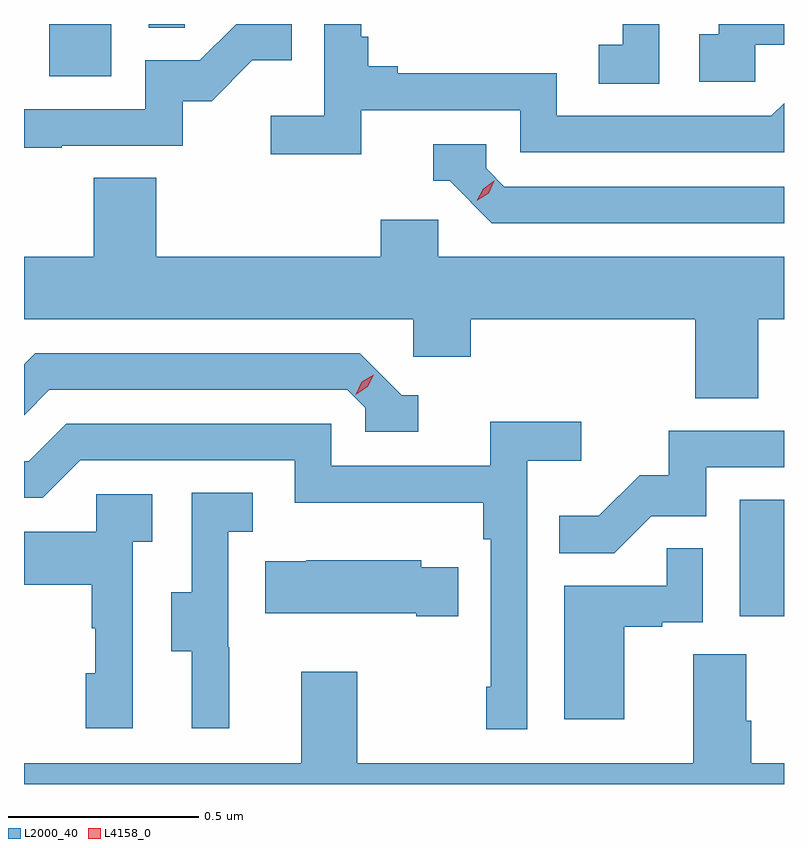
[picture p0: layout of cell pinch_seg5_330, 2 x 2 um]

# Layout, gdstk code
import gdstk
lib = gdstk.Library(unit=1e-6, precision=1e-09)
def R(c, l, rs):  # rectangles x0, y0, x1, y1
    for r in rs: c.add(gdstk.rectangle(r[:2], r[2:], *l))
def P(c, l, *ps):  # polygons
    for p in ps: c.add(gdstk.Polygon(p, *l))
L2000_40 = (2000, 40)
L4158_0 = (4158, 0)

pinch_seg5_330 = lib.new_cell('pinch_seg5_330')
R(pinch_seg5_330, L2000_40, [(926.156,883.95,926.272,884.257), (924.338,885.372,924.502,885.509), (924.6,885.499,924.695,885.509)])
P(pinch_seg5_330, L2000_40, [(925.944,885.509),(925.848,885.509),(925.848,885.455),(925.785,885.455),(925.785,885.352),(925.944,885.352)],
  [(924.371,885.189),(924.69,885.189),(924.69,885.306),(924.766,885.306),(924.873,885.413),(924.977,885.413),(924.977,885.509),(924.83,885.509),(924.735,885.414),(924.591,885.414),(924.591,885.285),(924.272,885.285),(924.272,885.184),(924.371,885.184)],
  [(926.196,885.455),(926.272,885.455),(926.272,885.509),(926.1,885.509),(926.1,885.482),(926.049,885.482),(926.049,885.357),(926.196,885.357)],
  [(925.16,885.282),(925.578,885.282),(925.578,885.171),(926.272,885.171),(926.272,885.301),(926.238,885.267),(925.674,885.267),(925.674,885.379),(925.255,885.379),(925.255,885.398),(925.178,885.398),(925.178,885.475),(925.159,885.475),(925.159,885.509),(925.062,885.509),(925.062,885.268),(924.921,885.268),(924.921,885.166),(925.16,885.166)],
  [(926.272,885.081),(925.536,885.081),(925.488,885.129),(925.488,885.192),(925.349,885.192),(925.349,885.096),(925.392,885.096),(925.503,884.985),(926.272,884.985)],
  [(926.204,884.732),(926.272,884.732),(926.272,884.896),(925.362,884.896),(925.362,884.994),(925.211,884.994),(925.211,884.896),(924.62,884.896),(924.62,885.104),(924.455,885.104),(924.455,884.896),(924.272,884.896),(924.272,884.732),(925.296,884.732),(925.296,884.634),(925.448,884.634),(925.448,884.732),(926.039,884.732),(926.039,884.524),(926.204,884.524)],
  [(925.309,884.532),(925.266,884.532),(925.155,884.643),(924.302,884.643),(924.272,884.613),(924.272,884.48),(924.339,884.547),(925.122,884.547),(925.17,884.499),(925.17,884.436),(925.309,884.436)],
  [(925.596,884.36),(925.738,884.36),(925.738,884.462),(925.499,884.462),(925.499,884.346),(925.08,884.346),(925.08,884.457),(924.383,884.457),(924.284,884.358),(924.272,884.358),(924.272,884.262),(924.321,884.262),(924.42,884.361),(924.984,884.361),(924.984,884.249),(925.48,884.249),(925.48,884.153),(925.5,884.153),(925.5,883.765),(925.488,883.765),(925.488,883.653),(925.596,883.653)],
  [(925.923,884.214),(926.067,884.214),(926.067,884.343),(926.272,884.343),(926.272,884.439),(925.969,884.439),(925.969,884.322),(925.892,884.322),(925.785,884.215),(925.681,884.215),(925.681,884.116),(925.825,884.116)],
  [(924.812,883.869),(924.81,883.869),(924.81,884.173),(924.874,884.173),(924.874,884.276),(924.714,884.276),(924.714,884.013),(924.659,884.013),(924.659,883.858),(924.713,883.858),(924.713,883.656),(924.812,883.656)],
  [(924.558,884.147),(924.61,884.147),(924.61,884.271),(924.462,884.271),(924.462,884.173),(924.272,884.173),(924.272,884.033),(924.45,884.033),(924.45,883.919),(924.46,883.919),(924.46,883.8),(924.434,883.8),(924.434,883.656),(924.558,883.656)],
  [(925.852,883.923),(925.952,883.923),(925.952,883.935),(926.058,883.935),(926.058,884.129),(925.963,884.129),(925.963,884.031),(925.694,884.031),(925.694,883.68),(925.852,883.68)],
  [(925.415,884.08),(925.317,884.08),(925.317,884.098),(925.015,884.098),(925.015,884.095),(924.907,884.095),(924.907,883.958),(925.304,883.958),(925.304,883.951),(925.415,883.951)],
  [(926.272,883.564),(926.186,883.564),(926.186,883.676),(926.173,883.676),(926.173,883.85),(926.033,883.85),(926.033,883.564),(925.149,883.564),(925.149,883.804),(925.001,883.804),(925.001,883.564),(924.272,883.564),(924.272,883.509),(926.272,883.509)])
P(pinch_seg5_330, L4158_0, [(925.464,885.044),(925.464,885.044),(925.48,885.076),(925.51,885.096),(925.51,885.096),(925.51,885.096),(925.495,885.063),(925.464,885.044)],
  [(925.145,884.534),(925.145,884.534),(925.161,884.567),(925.192,884.586),(925.192,884.586),(925.192,884.586),(925.176,884.554),(925.145,884.534)])

lib.write_gds('pinch_seg5_330.gds')
